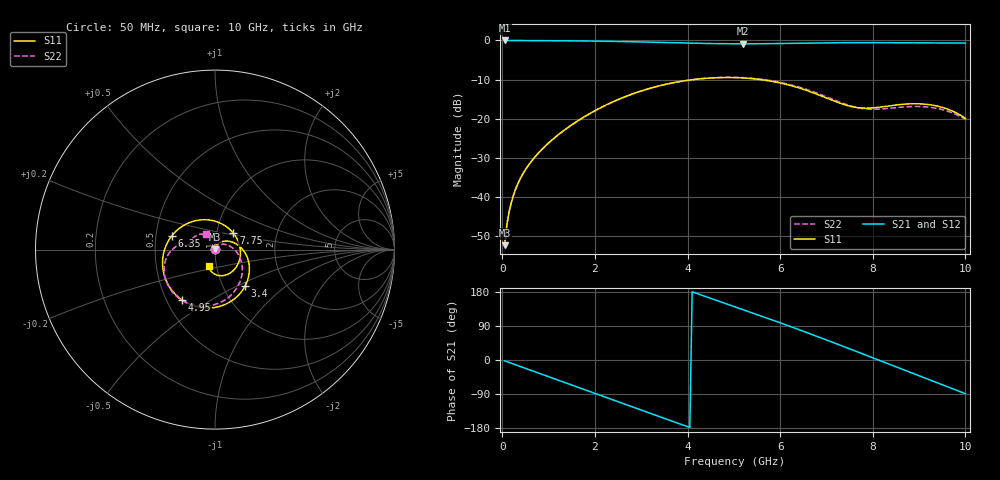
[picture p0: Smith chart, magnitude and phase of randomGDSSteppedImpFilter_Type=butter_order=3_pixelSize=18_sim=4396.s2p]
! freq	dB(S11)	phase(S11)	dB(S12)	phase(S12)
!  dB(S21)	phase(S21)	dB(S22)	phase(S22)
!S-par simulation data
#  GHz  S  DB  R 50
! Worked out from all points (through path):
!   200 points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, 50 MHz to 10 GHz, reference 50 ohm
!   highest |S21| = -0.01 dB at 50 MHz (marker M1); lowest = -0.9 dB at 5.2 GHz (marker M2)
!   group delay of S21, straight-line fit = 124 ps
!   lowest |S11| = -52.4 dB at 50 MHz (marker M3), VSWR 1.00, Z = 50 + j0.236 ohm
!   |S11| at or under -10 dB: start of sweep to 4.127 GHz; 5.573 GHz to end of sweep
!   |S22| runs from -52.6 to -9.4 dB; largest |S21 - S12| = 0
!   S11 on the Smith chart (normalised r, x): 50 MHz: 1.00, +0.00; 3.4 GHz: 1.26, -0.56; 4.95 GHz: 0.60, -0.38; 6.35 GHz: 0.60, +0.10; 7.75 GHz: 1.21, +0.22; 10 GHz: 0.92, -0.17
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0.05  -52.37 79.0  -0.01 -2.2  -0.01 -2.2  -52.57 74.4
0.1  -46.97 80.3  -0.01 -4.4  -0.01 -4.4  -47.06 77.6
0.2  -41.17 79.9  -0.02 -8.9  -0.02 -8.9  -41.16 75.9
0.45  -34.00 73.5  -0.03 -19.9  -0.03 -19.9  -33.99 65.0
0.75  -29.15 63.7  -0.05 -33.0  -0.05 -33.0  -29.18 50.3
1.15  -24.65 48.8  -0.07 -50.7  -0.07 -50.7  -24.70 30.8
1.75  -19.65 23.9  -0.13 -77.2  -0.13 -77.2  -19.71 2.8
2.5  -15.10 -9.5  -0.26 -110.3  -0.26 -110.3  -15.15 -30.3
3.4  -11.56 -50.8  -0.51 -149.9  -0.51 -149.9  -11.59 -68.1
4.15  -9.97 -85.4  -0.72 177.8  -0.72 177.8  -9.96 -97.9
4.95  -9.48 -122.8  -0.86 143.6  -0.86 143.6  -9.44 -128.1
5.05  -9.51 -127.6  -0.86 139.4  -0.86 139.4  -9.46 -131.8
5.2  -9.59 -134.9  -0.86 133.0  -0.86 133.0  -9.53 -137.2
5.8  -10.40 -165.6  -0.82 107.0  -0.82 107.0  -10.29 -158.0
6.35  -11.93 162.6  -0.72 82.6  -0.72 82.6  -11.73 -174.9
6.7  -13.33 139.1  -0.65 66.7  -0.65 66.7  -13.06 176.5
7.2  -15.64 98.0  -0.58 43.5  -0.58 43.5  -15.37 169.8
7.75  -17.26 41.6  -0.56 17.7  -0.56 17.7  -17.35 172.7
8.35  -16.73 -16.0  -0.60 -10.7  -0.60 -10.7  -17.34 175.5
8.8  -16.20 -48.9  -0.64 -31.9  -0.64 -31.9  -16.91 168.2
9.25  -16.46 -75.4  -0.67 -53.1  -0.67 -53.1  -17.11 154.0
10  -19.94 -110.8  -0.68 -89.1  -0.68 -89.1  -20.13 120.3
